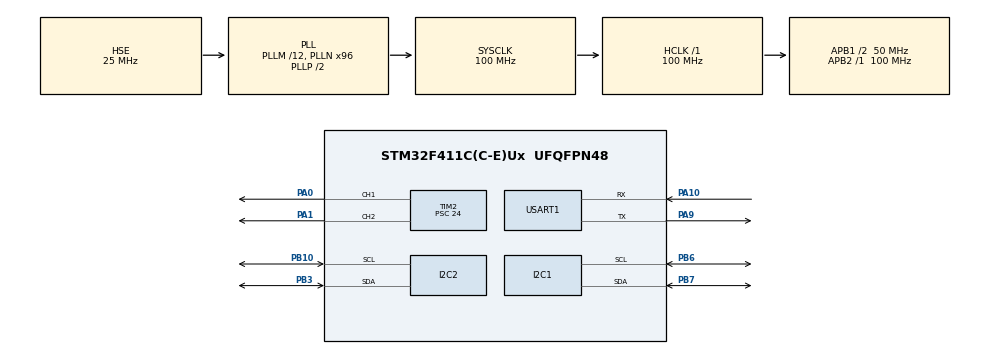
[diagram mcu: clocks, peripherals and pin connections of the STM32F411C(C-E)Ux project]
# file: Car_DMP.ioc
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I2C1.I2C_Mode=I2C_Fast
I2C2.I2C_Mode=I2C_Fast
Mcu.Family=STM32F4
Mcu.Name=STM32F411C(C-E)Ux
Mcu.Package=UFQFPN48
NVIC.PriorityGroup=NVIC_PRIORITYGROUP_4
NVIC.TIM1_UP_TIM10_IRQn=true\:1\:0\:true\:false\:true\:true\:true
NVIC.USART1_IRQn=true\:2\:0\:true\:false\:true\:true\:true
PA0-WKUP.Signal=S_TIM2_CH1_ETR
PA1.Signal=S_TIM2_CH2
PA10.GPIO_PuPd=GPIO_NOPULL
PA10.Mode=Asynchronous
PA10.Signal=USART1_RX
PA13.Mode=Serial_Wire
PA13.Signal=SYS_JTMS-SWDIO
PA14.Mode=Serial_Wire
PA14.Signal=SYS_JTCK-SWCLK
PA9.GPIO_PuPd=GPIO_NOPULL
PA9.Mode=Asynchronous
PA9.Signal=USART1_TX
PB10.Mode=I2C
PB10.Signal=I2C2_SCL
PB3.Mode=I2C
PB3.Signal=I2C2_SDA
PB6.Mode=I2C
PB6.Signal=I2C1_SCL
PB7.Mode=I2C
PB7.Signal=I2C1_SDA
PC14-OSC32_IN.Mode=LSE-External-Oscillator
PC14-OSC32_IN.Signal=RCC_OSC32_IN
PC15-OSC32_OUT.Mode=LSE-External-Oscillator
PC15-OSC32_OUT.Signal=RCC_OSC32_OUT
PH0\ -\ OSC_IN.Mode=HSE-External-Oscillator
PH0\ -\ OSC_IN.Signal=RCC_OSC_IN
PH1\ -\ OSC_OUT.Mode=HSE-External-Oscillator
PH1\ -\ OSC_OUT.Signal=RCC_OSC_OUT
ProjectManager.HeapSize=0x200
ProjectManager.StackSize=0x400
ProjectManager.TargetToolchain=MDK-ARM V5.27
RCC.48MHZClocksFreq_Value=50000000
RCC.AHBFreq_Value=100000000
RCC.APB1CLKDivider=RCC_HCLK_DIV2
RCC.APB1Freq_Value=50000000
RCC.APB1TimFreq_Value=100000000
RCC.APB2Freq_Value=100000000
RCC.APB2TimFreq_Value=100000000
RCC.CortexFreq_Value=100000000
RCC.HCLKFreq_Value=100000000
RCC.HSE_VALUE=25000000
RCC.HSI_VALUE=16000000
RCC.PLLM=12
RCC.PLLN=96
RCC.PLLSourceVirtual=RCC_PLLSOURCE_HSE
RCC.SYSCLKFreq_VALUE=100000000
RCC.SYSCLKSource=RCC_SYSCLKSOURCE_PLLCLK
RCC.VCOOutputFreq_Value=200000000
SH.S_TIM2_CH1_ETR.0=TIM2_CH1,PWM Generation1 CH1
SH.S_TIM2_CH2.0=TIM2_CH2,PWM Generation2 CH2
TIM1.Period=999
TIM1.Prescaler=99
TIM2.Channel-PWM\ Generation1\ CH1=TIM_CHANNEL_1
TIM2.Channel-PWM\ Generation2\ CH2=TIM_CHANNEL_2
TIM2.Period=49
TIM2.Prescaler=24
USART1.VirtualMode=VM_ASYNC
VP_TIM1_VS_ClockSourceINT.Mode=Internal
VP_TIM2_VS_ClockSourceINT.Mode=Internal
board=custom

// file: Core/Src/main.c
/* USER CODE BEGIN Header */
/**
  ******************************************************************************
  * @file           : main.c
  * @brief          : Main program body
  ******************************************************************************
  * @attention
  *
  * <h2><center>&copy; Copyright (c) 2020 STMicroelectronics.
  * All rights reserved.</center></h2>
  *
  * This software component is licensed by ST under BSD 3-Clause license,
  * the "License"; You may not use this file except in compliance with the
  * License. You may obtain a copy of the License at:
  *                        opensource.org/licenses/BSD-3-Clause
  *
  ******************************************************************************
  */
/* USER CODE END Header */
#include "main.h"
#include "i2c.h"
#include "tim.h"
#include "usart.h"
#include "gpio.h"

/* USER CODE BEGIN Includes */
#include "mpu6050.h"
#include "oled.h"
#include "motor.h"
#include "control.h"
#include "esp8266.h"
#include "data_transfer.h"
#include "inv_mpu.h"
#include "inv_mpu_dmp_motion_driver.h"
/* USER CODE END Includes */

/* USER CODE BEGIN PV */
float pitch,roll,yaw;
/* USER CODE END PV */

void SystemClock_Config(void);

int main(void)
{

  /* MCU Configuration--------------------------------------------------------*/

  /* Reset of all peripherals, Initializes the Flash interface and the Systick. */
  HAL_Init();

  /* Configure the system clock */
  SystemClock_Config();

  /* Initialize all configured peripherals */
  MX_GPIO_Init();
  MX_I2C1_Init();
  MX_I2C2_Init();
  MX_TIM1_Init();
  MX_TIM2_Init();
  MX_USART1_UART_Init();
  /* USER CODE BEGIN 2 */
	OLED_Init();
	OLED_Clear();
	OLED_ShowString(28,3,(uint8_t*)"Car_Seesaw",16);
	esp8266_init();
	Motor_Init();
	OLED_Clear();

	mpu_dmp_init();
	HAL_TIM_Base_Start_IT(&htim1);
  /* USER CODE END 2 */

  /* Infinite loop */
  /* USER CODE BEGIN WHILE */
  while (1)
  {
		OLED_ShowNum(48,4,roll,4,16);
//		ANO_DT_Send_Status(roll,0,0,1,122,233);
    /* USER CODE END WHILE */

  }
}

void SystemClock_Config(void)
{
  RCC_OscInitTypeDef RCC_OscInitStruct = {0};
  RCC_ClkInitTypeDef RCC_ClkInitStruct = {0};

  /** Configure the main internal regulator output voltage
  */
  __HAL_RCC_PWR_CLK_ENABLE();
  __HAL_PWR_VOLTAGESCALING_CONFIG(PWR_REGULATOR_VOLTAGE_SCALE1);
  /** Initializes the RCC Oscillators according to the specified parameters
  * in the RCC_OscInitTypeDef structure.
  */
  RCC_OscInitStruct.OscillatorType = RCC_OSCILLATORTYPE_HSE;
  RCC_OscInitStruct.HSEState = RCC_HSE_ON;
  RCC_OscInitStruct.PLL.PLLState = RCC_PLL_ON;
  RCC_OscInitStruct.PLL.PLLSource = RCC_PLLSOURCE_HSE;
  RCC_OscInitStruct.PLL.PLLM = 12;
  RCC_OscInitStruct.PLL.PLLN = 96;
  RCC_OscInitStruct.PLL.PLLP = RCC_PLLP_DIV2;
  RCC_OscInitStruct.PLL.PLLQ = 4;
  if (HAL_RCC_OscConfig(&RCC_OscInitStruct) != HAL_OK)
  {
    Error_Handler();
  }
  /** Initializes the CPU, AHB and APB buses clocks
  */
  RCC_ClkInitStruct.ClockType = RCC_CLOCKTYPE_HCLK|RCC_CLOCKTYPE_SYSCLK
                              |RCC_CLOCKTYPE_PCLK1|RCC_CLOCKTYPE_PCLK2;
  RCC_ClkInitStruct.SYSCLKSource = RCC_SYSCLKSOURCE_PLLCLK;
  RCC_ClkInitStruct.AHBCLKDivider = RCC_SYSCLK_DIV1;
  RCC_ClkInitStruct.APB1CLKDivider = RCC_HCLK_DIV2;
  RCC_ClkInitStruct.APB2CLKDivider = RCC_HCLK_DIV1;

  if (HAL_RCC_ClockConfig(&RCC_ClkInitStruct, FLASH_LATENCY_3) != HAL_OK)
  {
    Error_Handler();
  }
}

void Error_Handler(void)
{
  __disable_irq();
  while (1)
  {
  }
}

/************************ (C) COPYRIGHT STMicroelectronics *****END OF FILE****/
